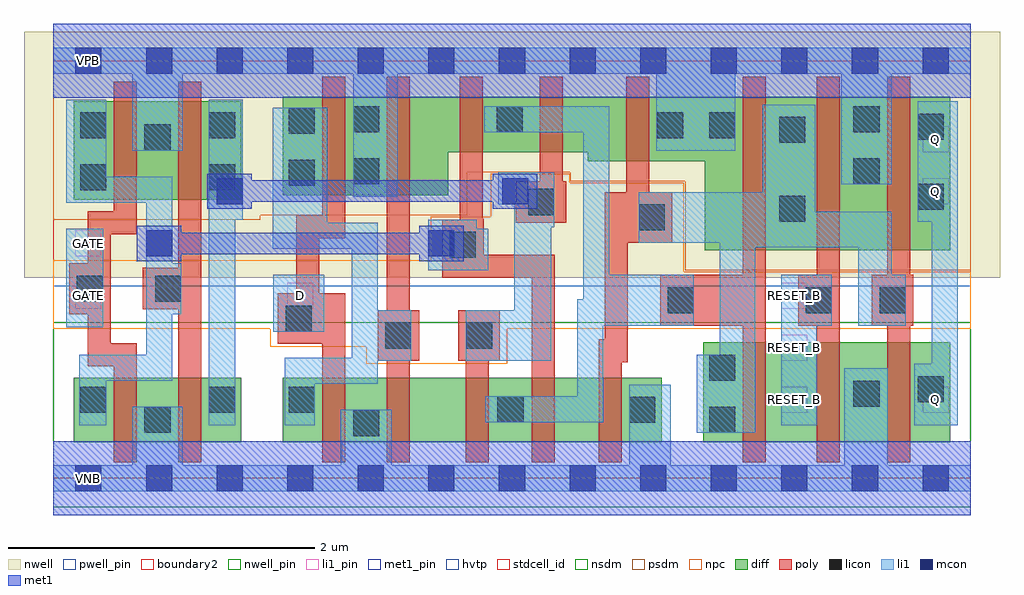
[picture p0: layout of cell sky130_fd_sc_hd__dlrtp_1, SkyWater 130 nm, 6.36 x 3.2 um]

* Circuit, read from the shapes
.subckt sky130_fd_sc_hd__dlrtp_1 D GATE Q RESET_B VGND VNB VPB VPWR
XM1 VGND GATE n1 VNB sky130_fd_pr__nfet_01v8 w=0.42 l=0.15
XM2 n2 n1 VGND VNB sky130_fd_pr__nfet_01v8 w=0.42 l=0.15
XM3 VGND D n3 VNB sky130_fd_pr__nfet_01v8 w=0.42 l=0.15
XM4 n4 n3 VGND VNB sky130_fd_pr__nfet_01v8 w=0.42 l=0.15
XM5 n5 n2 n4 VNB sky130_fd_pr__nfet_01v8 w=0.42 l=0.15
XM6 n6 n1 n5 VNB sky130_fd_pr__nfet_01v8 w=0.42 l=0.15
XM7 VGND n7 n6 VNB sky130_fd_pr__nfet_01v8 w=0.42 l=0.15
XM8 n8 n5 n7 VNB sky130_fd_pr__nfet_01v8 w=0.65 l=0.15
XM9 VGND RESET_B n8 VNB sky130_fd_pr__nfet_01v8 w=0.65 l=0.15
XM10 Q n7 VGND VNB sky130_fd_pr__nfet_01v8 w=0.65 l=0.15
XM11 VPWR GATE n1 VPB sky130_fd_pr__pfet_01v8_hvt w=0.64 l=0.15
XM12 n2 n1 VPWR VPB sky130_fd_pr__pfet_01v8_hvt w=0.64 l=0.15
XM13 VPWR D n3 VPB sky130_fd_pr__pfet_01v8_hvt w=0.64 l=0.15
XM14 n9 n3 VPWR VPB sky130_fd_pr__pfet_01v8_hvt w=0.64 l=0.15
XM15 n5 n1 n9 VPB sky130_fd_pr__pfet_01v8_hvt w=0.36 l=0.15
XM16 n10 n2 n5 VPB sky130_fd_pr__pfet_01v8_hvt w=0.36 l=0.15
XM17 VPWR n7 n10 VPB sky130_fd_pr__pfet_01v8_hvt w=0.42 l=0.15
XM18 n7 n5 VPWR VPB sky130_fd_pr__pfet_01v8_hvt w=1 l=0.15
XM19 VPWR RESET_B n7 VPB sky130_fd_pr__pfet_01v8_hvt w=1 l=0.15
XM20 Q n7 VPWR VPB sky130_fd_pr__pfet_01v8_hvt w=1 l=0.15
.ends

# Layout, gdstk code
import gdstk
lib = gdstk.Library(unit=1e-6, precision=1e-09)
def R(c, l, rs):  # rectangles x0, y0, x1, y1
    for r in rs: c.add(gdstk.rectangle(r[:2], r[2:], *l))
def A(c, l, x, y, w, h, nx, ny, dx, dy):  # array of equal rectangles
    R(c, l, [(x+i*dx, y+j*dy, x+i*dx+w, y+j*dy+h) for i in range(nx) for j in range(ny)])
def P(c, l, *ps):  # polygons
    for p in ps: c.add(gdstk.Polygon(p, *l))
nwell_pin = (64, 16)
nwell = (64, 20)
diff = (65, 20)
poly = (66, 20)
licon = (66, 44)
li1_pin = (67, 16)
li1 = (67, 20)
mcon = (67, 44)
met1_pin = (68, 16)
met1 = (68, 20)
hvtp = (78, 44)
stdcell_id = (81, 4)
nsdm = (93, 44)
psdm = (94, 20)
npc = (95, 20)
pwell_pin = (122, 16)
boundary2 = (236, 0)

sky130_fd_sc_hd__dlrtp_1 = lib.new_cell('sky130_fd_sc_hd__dlrtp_1')
R(sky130_fd_sc_hd__dlrtp_1, nwell_pin, [(0.145,2.635,0.315,2.805), (0.145,2.635,0.315,2.805)])
R(sky130_fd_sc_hd__dlrtp_1, nwell, [(-0.19,1.305,6.17,2.91)])
R(sky130_fd_sc_hd__dlrtp_1, diff, [(0.135,0.235,1.225,0.655), (1.495,0.235,3.965,0.655), (4.235,0.235,5.845,0.885), (0.135,1.815,1.225,2.455)])
P(sky130_fd_sc_hd__dlrtp_1, diff, [(4.245,1.485),(4.245,2.065),(3.485,2.065),(3.485,2.125),(2.575,2.125),(2.575,1.845),(1.495,1.845),(1.495,2.485),(5.845,2.485),(5.845,1.485)])
P(sky130_fd_sc_hd__dlrtp_1, poly, [(2.175,0.105),(2.175,0.765),(2.115,0.765),(2.115,1.095),(2.175,1.095),(2.175,2.615),(2.325,2.615),(2.325,1.095),(2.385,1.095),(2.385,0.765),(2.325,0.765),(2.325,0.105)],
  [(3.015,1.665),(3.015,1.935),(3.17,1.935),(3.17,2.615),(3.32,2.615),(3.32,1.935),(3.345,1.935),(3.345,1.665)],
  [(1.755,0.105),(1.755,0.875),(1.465,0.875),(1.465,1.205),(1.585,1.205),(1.585,1.715),(1.755,1.715),(1.755,2.615),(1.905,2.615),(1.905,1.565),(1.735,1.565),(1.735,1.205),(1.905,1.205),(1.905,0.105)],
  [(3.12,0.105),(3.12,1.305),(2.535,1.305),(2.535,1.685),(2.65,1.685),(2.65,2.615),(2.8,2.615),(2.8,1.69),(2.805,1.69),(2.805,1.455),(3.27,1.455),(3.27,0.105)],
  [(5.435,0.105),(5.435,0.995),(5.335,0.995),(5.335,1.325),(5.435,1.325),(5.435,2.615),(5.585,2.615),(5.585,1.325),(5.605,1.325),(5.605,0.995),(5.585,0.995),(5.585,0.105)],
  [(4.975,0.105),(4.975,0.995),(4.855,0.995),(4.855,1.325),(4.975,1.325),(4.975,2.615),(5.125,2.615),(5.125,0.105)],
  [(0.395,0.105),(0.395,0.73),(0.225,0.73),(0.225,1.07),(0.105,1.07),(0.105,1.4),(0.225,1.4),(0.225,1.74),(0.395,1.74),(0.395,2.585),(0.545,2.585),(0.545,1.59),(0.375,1.59),(0.375,0.88),(0.545,0.88),(0.545,0.105)],
  [(4.495,0.105),(4.495,0.995),(3.955,0.995),(3.955,1.325),(4.495,1.325),(4.495,2.615),(4.645,2.615),(4.645,0.105)],
  [(0.815,0.105),(0.815,1.1),(0.585,1.1),(0.585,1.37),(0.815,1.37),(0.815,2.585),(0.965,2.585),(0.965,0.105)],
  [(2.69,0.105),(2.69,0.765),(2.64,0.765),(2.64,1.095),(2.91,1.095),(2.91,0.765),(2.84,0.765),(2.84,0.105)],
  [(3.555,0.105),(3.555,0.905),(3.595,0.905),(3.595,1.865),(3.735,1.865),(3.735,2.615),(3.885,2.615),(3.885,1.865),(4.035,1.865),(4.035,1.535),(3.745,1.535),(3.745,0.755),(3.705,0.755),(3.705,0.105)])
R(sky130_fd_sc_hd__dlrtp_1, licon, [(1.955,0.275,2.125,0.445), (0.595,0.295,0.765,0.465), (4.275,0.295,4.445,0.465), (3.755,0.36,3.925,0.53), (2.895,0.365,3.065,0.535), (0.175,0.425,0.345,0.595), (1.015,0.425,1.185,0.595), (1.535,0.425,1.705,0.595), (5.215,0.465,5.385,0.635), (5.635,0.495,5.805,0.665), (4.275,0.635,4.445,0.805), (2.165,0.845,2.335,1.015), (2.69,0.845,2.86,1.015), (1.515,0.955,1.685,1.125), (4.005,1.075,4.175,1.245), (4.905,1.075,5.075,1.245), (5.385,1.075,5.555,1.245), (0.155,1.15,0.325,1.32), (0.665,1.15,0.835,1.32), (2.585,1.435,2.755,1.605), (3.815,1.615,3.985,1.785), (4.73,1.67,4.9,1.84), (3.095,1.715,3.265,1.885), (5.635,1.75,5.805,1.92), (0.175,1.875,0.345,2.045), (1.015,1.875,1.185,2.045), (1.535,1.905,1.705,2.075), (1.955,1.915,2.125,2.085), (5.215,1.915,5.385,2.085), (0.595,2.135,0.765,2.305), (4.73,2.185,4.9,2.355), (5.635,2.205,5.805,2.375), (0.175,2.215,0.345,2.385), (1.015,2.215,1.185,2.385), (3.935,2.215,4.105,2.385), (4.275,2.215,4.445,2.385), (1.535,2.245,1.705,2.415), (1.955,2.255,2.125,2.425), (2.89,2.255,3.06,2.425), (5.215,2.255,5.385,2.425)])
A(sky130_fd_sc_hd__dlrtp_1, li1_pin, 4.745, 0.425, 0.17, 0.17, 1, 3, 0, 0.34)
R(sky130_fd_sc_hd__dlrtp_1, li1_pin, [(5.665,0.425,5.835,0.595), (0.145,1.105,0.315,1.275), (1.525,1.105,1.695,1.275), (0.145,1.445,0.315,1.615), (5.665,1.785,5.835,1.955), (5.665,2.125,5.835,2.295)])
R(sky130_fd_sc_hd__dlrtp_1, li1, [(1.435,0.955,1.765,1.325), (0.085,0.985,0.325,1.625)])
P(sky130_fd_sc_hd__dlrtp_1, li1, [(2.445,1.355),(2.445,1.685),(2.76,1.685),(2.76,1.625),(2.835,1.625),(2.835,1.355)],
  [(2.815,0.365),(2.815,0.535),(3.415,0.535),(3.415,1.165),(3.455,1.165),(3.455,2.255),(2.81,2.255),(2.81,2.425),(3.625,2.425),(3.625,1.325),(4.175,1.325),(4.175,0.995),(3.585,0.995),(3.585,0.365)],
  [(2.69,0.765),(2.69,1.095),(3.005,1.095),(3.005,1.785),(2.9,1.785),(2.9,1.995),(3.265,1.995),(3.265,1.635),(3.245,1.635),(3.245,0.765)],
  [(0.17,0.345),(0.17,0.805),(0.605,0.805),(0.605,1.795),(0.085,1.795),(0.085,2.465),(0.345,2.465),(0.345,1.965),(0.775,1.965),(0.775,1.4),(0.835,1.4),(0.835,1.07),(0.775,1.07),(0.775,0.635),(0.345,0.635),(0.345,0.345)],
  [(0,-0.085),(0,0.085),(0.515,0.085),(0.515,0.465),(0.845,0.465),(0.845,0.085),(1.875,0.085),(1.875,0.445),(2.205,0.445),(2.205,0.085),(3.755,0.085),(3.755,0.61),(4.025,0.61),(4.025,0.085),(5.155,0.085),(5.155,0.715),(5.44,0.715),(5.44,0.085),(5.98,0.085),(5.98,-0.085)],
  [(1.955,1.835),(1.955,2.635),(0.845,2.635),(0.845,2.135),(0.515,2.135),(0.515,2.635),(0,2.635),(0,2.805),(5.98,2.805),(5.98,2.635),(5.465,2.635),(5.465,1.915),(5.135,1.915),(5.135,2.635),(4.445,2.635),(4.445,2.135),(3.93,2.135),(3.93,2.635),(2.245,2.635),(2.245,1.835)],
  [(4.195,0.295),(4.195,0.805),(4.345,0.805),(4.345,1.535),(3.815,1.535),(3.815,1.865),(4.625,1.865),(4.625,2.435),(4.965,2.435),(4.965,1.735),(5.465,1.735),(5.465,1.325),(5.555,1.325),(5.555,0.995),(5.245,0.995),(5.245,1.505),(4.575,1.505),(4.575,0.295)],
  [(1.51,0.345),(1.51,0.785),(1.945,0.785),(1.945,1.495),(1.43,1.495),(1.43,2.415),(1.785,2.415),(1.785,1.665),(2.115,1.665),(2.115,1.095),(2.335,1.095),(2.335,0.765),(2.115,0.765),(2.115,0.615),(1.705,0.615),(1.705,0.345)],
  [(5.61,0.345),(5.61,0.745),(5.725,0.745),(5.725,1.67),(5.635,1.67),(5.635,2.455),(5.895,2.455),(5.895,0.345)],
  [(1.015,0.345),(1.015,2.465),(1.235,2.465),(1.235,1.685),(1.185,1.685),(1.185,0.345)],
  [(4.745,0.345),(4.745,1.325),(5.075,1.325),(5.075,0.995),(4.975,0.995),(4.975,0.345)])
A(sky130_fd_sc_hd__dlrtp_1, mcon, 0.145, -0.085, 0.17, 0.17, 13, 2, 0.46, 2.72)
R(sky130_fd_sc_hd__dlrtp_1, mcon, [(0.605,1.445,0.775,1.615), (2.445,1.445,2.615,1.615), (1.065,1.785,1.235,1.955), (2.925,1.785,3.095,1.955)])
R(sky130_fd_sc_hd__dlrtp_1, met1_pin, [(0.145,-0.085,0.315,0.085), (0.145,2.635,0.315,2.805)])
P(sky130_fd_sc_hd__dlrtp_1, met1, [(1.005,1.755),(1.005,1.985),(1.295,1.985),(1.295,1.94),(2.865,1.94),(2.865,1.985),(3.155,1.985),(3.155,1.755),(2.865,1.755),(2.865,1.8),(1.295,1.8),(1.295,1.755)],
  [(0.545,1.415),(0.545,1.645),(0.835,1.645),(0.835,1.6),(2.385,1.6),(2.385,1.645),(2.675,1.645),(2.675,1.415),(2.385,1.415),(2.385,1.46),(0.835,1.46),(0.835,1.415)])
R(sky130_fd_sc_hd__dlrtp_1, hvtp, [(0,1.25,5.98,2.72)])
R(sky130_fd_sc_hd__dlrtp_1, stdcell_id, [(0,0,5.98,2.72)])
R(sky130_fd_sc_hd__dlrtp_1, nsdm, [(0,-0.19,5.98,1.015)])
P(sky130_fd_sc_hd__dlrtp_1, psdm, [(4.12,1.355),(4.12,1.935),(3.37,1.935),(3.37,1.995),(2.7,1.995),(2.7,1.715),(1.35,1.715),(1.35,1.685),(0,1.685),(0,2.91),(5.98,2.91),(5.98,1.355)])
P(sky130_fd_sc_hd__dlrtp_1, npc, [(2.04,0.745),(2.04,0.855),(1.415,0.855),(1.415,0.975),(0,0.975),(0,1.42),(2.46,1.42),(2.46,1.705),(2.85,1.705),(2.85,1.985),(3.365,1.985),(3.365,1.925),(4.11,1.925),(4.11,1.345),(5.98,1.345),(5.98,0.975),(2.96,0.975),(2.96,0.745)])
R(sky130_fd_sc_hd__dlrtp_1, pwell_pin, [(0.145,-0.085,0.315,0.085), (0.145,-0.085,0.315,0.085)])
R(sky130_fd_sc_hd__dlrtp_1, boundary2, [(0,0,5.98,2.72)])
sky130_fd_sc_hd__dlrtp_1.add(gdstk.FlexPath([(0,2.72),(5.98,2.72)], 0.48, ends="flush", simple_path=True, layer=68, datatype=20))  # met1
sky130_fd_sc_hd__dlrtp_1.add(gdstk.FlexPath([(0,0),(5.98,0)], 0.48, ends="flush", simple_path=True, layer=68, datatype=20))  # met1
sky130_fd_sc_hd__dlrtp_1.add(gdstk.Label('RESET_B', (4.83,1.19), layer=67, texttype=5))
sky130_fd_sc_hd__dlrtp_1.add(gdstk.Label('D', (1.61,1.19), layer=67, texttype=5))
sky130_fd_sc_hd__dlrtp_1.add(gdstk.Label('GATE', (0.23,1.19), layer=67, texttype=5))
sky130_fd_sc_hd__dlrtp_1.add(gdstk.Label('Q', (5.75,1.87), layer=67, texttype=5))
sky130_fd_sc_hd__dlrtp_1.add(gdstk.Label('GATE', (0.23,1.53), layer=67, texttype=5))
sky130_fd_sc_hd__dlrtp_1.add(gdstk.Label('Q', (5.75,2.21), layer=67, texttype=5))
sky130_fd_sc_hd__dlrtp_1.add(gdstk.Label('Q', (5.75,0.51), layer=67, texttype=5))
sky130_fd_sc_hd__dlrtp_1.add(gdstk.Label('RESET_B', (4.83,0.51), layer=67, texttype=5))
sky130_fd_sc_hd__dlrtp_1.add(gdstk.Label('RESET_B', (4.83,0.85), layer=67, texttype=5))
sky130_fd_sc_hd__dlrtp_1.add(gdstk.Label('VNB', (0.23,0), layer=64, texttype=59))
sky130_fd_sc_hd__dlrtp_1.add(gdstk.Label('VNB', (0.23,0), layer=64, texttype=59))
sky130_fd_sc_hd__dlrtp_1.add(gdstk.Label('VPB', (0.23,2.72), layer=64, texttype=5))
sky130_fd_sc_hd__dlrtp_1.add(gdstk.Label('VPB', (0.23,2.72), layer=64, texttype=5))
sky130_fd_sc_hd__dlrtp_1.add(gdstk.Label('VGND', (0.23,0), layer=68, texttype=5))
sky130_fd_sc_hd__dlrtp_1.add(gdstk.Label('VPWR', (0.23,2.72), layer=68, texttype=5))
sky130_fd_sc_hd__dlrtp_1.add(gdstk.Label('dlrtp_1', (0,0), layer=83, texttype=44))

lib.write_gds('sky130_fd_sc_hd__dlrtp_1.gds')
